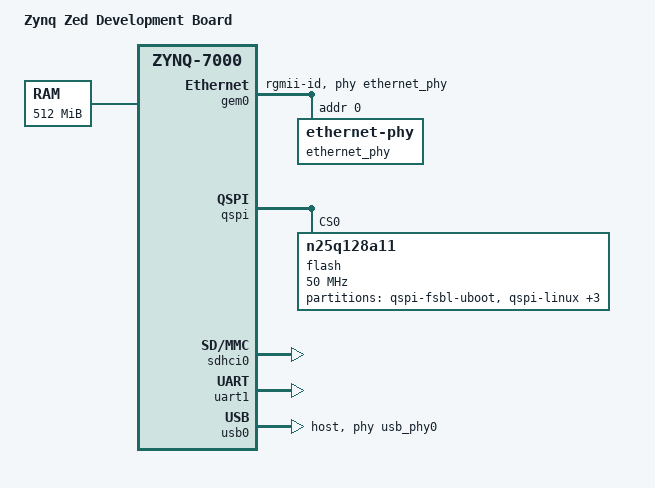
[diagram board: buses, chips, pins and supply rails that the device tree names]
/*
 * Xilinx ZED board DTS
 *
 *  Copyright (C) 2011 - 2015 Xilinx
 *  Copyright (C) 2012 National Instruments Corp.
 *
 * SPDX-License-Identifier:	GPL-2.0+
 */
/dts-v1/;
/include/"zynq-7000.dtsi"

/ {
	model = "Zynq Zed Development Board";
	compatible = "xlnx,zynq-zed", "xlnx,zynq-7000";

	AXI_TO_AUDIO_0: AXI_TO_AUDIO_0@43C50000 {
    	compatible = "generic-uio";
    	reg = < 0x43C50000 0x10000 >;
    	interrupt-parent = <&intc>;
    	interrupts = <0 33 1>;
	};

	FILTER_IIR_0: FILTER_IIR_0@43C00000 {
    	compatible = "generic-uio";
    	reg = < 0x43C00000 0x10000 >;
    	interrupt-parent = <&intc>;
    	interrupts = <0 29 1>;
	};

	VOLUME_PREGAIN_0: VOLUME_PREGAIN_0@43C10000 {
    	compatible = "generic-uio";
    	reg = < 0x43C10000 0x10000 >;
    	interrupt-parent = <&intc>;
    	interrupts = <0 30 1>;
	};

	ILTER_IIR_1: FILTER_IIR_1@43C40000 {
    	compatible = "generic-uio";
    	reg = < 0x43C40000 0x10000 >;
    	interrupt-parent = <&intc>;
    	interrupts = <0 31 1>;
	};

	VOLUME_PREGAIN_1: VOLUME_PREGAIN_1@43C30000 {
    	compatible = "generic-uio";
    	reg = < 0x43C30000 0x10000 >;
    	interrupt-parent = <&intc>;
    	interrupts = <0 32 1>;
	};

	ZEDBOARDOLED_0: ZEDBOARDOLED_0@43C20000 {
    	compatible = "generic-uio";
    	reg = < 0x43C20000 0x10000 >;
	};

	PMOD_CONTROLLER_0: PMOD_CONTROLLER_0@43C60000 {
    	compatible = "generic-uio";
    	reg = < 0x43C60000 0x10000 >;
    	interrupt-parent = <&intc>;
    	interrupts = <0 34 1>;
	};

	axi_gpio_0: axi_gpio_0@41200000 {
    	compatible = "generic-uio";
    	reg = < 0x41200000 0x10000 >;
    	gpio-controller;
    	interrupt-parent = <&intc>;
    	interrupts = <0 35 1>;
	};

	axi_gpio_1: axi_gpio_1@41210000 {
    	compatible = "generic-uio";
    	reg = < 0x41210000 0x10000 >;
    	gpio-controller;
    	interrupt-parent = <&intc>;
    	interrupts = <0 36 1>;
	};
	
	axi_gpio_2: axi_gpio_2@41220000 {
    	compatible = "generic-uio";
    	reg = < 0x41220000 0x10000 >;
    	gpio-controller;
    	interrupt-parent = <&intc>;
    	interrupts = <0 37 1>;
	};

	aliases {
		ethernet0 = &gem0;
		serial0 = &uart1;
		spi0 = &qspi;
		mmc0 = &sdhci0;
	};

	memory@0 {
		device_type = "memory";
		reg = <0x0 0x20000000>;
	};

	chosen {
		bootargs = "";
		stdout-path = "serial0:115200n8";
	};

	usb_phy0: phy0@e0002000 {
		compatible = "ulpi-phy";
		#phy-cells = <0>;
		reg = <0xe0002000 0x1000>;
		view-port = <0x0170>;
		drv-vbus;
	};
};

&clkc {
	ps-clk-frequency = <33333333>;
};

&gem0 {
	status = "okay";
	phy-mode = "rgmii-id";
	phy-handle = <&ethernet_phy>;

	ethernet_phy: ethernet-phy@0 {
		reg = <0>;
		device_type = "ethernet-phy";
	};
};

&qspi {
	u-boot,dm-pre-reloc;
	status = "okay";
	is-dual = <0>;
	num-cs = <1>;
	flash@0 {
		compatible = "n25q128a11";
		reg = <0x0>;
		spi-tx-bus-width = <1>;
		spi-rx-bus-width = <4>;
		spi-max-frequency = <50000000>;
		#address-cells = <1>;
		#size-cells = <1>;
		partition@qspi-fsbl-uboot {
			label = "qspi-fsbl-uboot";
			reg = <0x0 0x100000>;
		};
		partition@qspi-linux {
			label = "qspi-linux";
			reg = <0x100000 0x500000>;
		};
		partition@qspi-device-tree {
			label = "qspi-device-tree";
			reg = <0x600000 0x20000>;
		};
		partition@qspi-rootfs {
			label = "qspi-rootfs";
			reg = <0x620000 0x5E0000>;
		};
		partition@qspi-bitstream {
			label = "qspi-bitstream";
			reg = <0xC00000 0x400000>;
		};
	};
};

&sdhci0 {
	u-boot,dm-pre-reloc;
	status = "okay";
};

&uart1 {
	u-boot,dm-pre-reloc;
	status = "okay";
};

&usb0 {
	status = "okay";
	dr_mode = "host";
	usb-phy = <&usb_phy0>;
};
